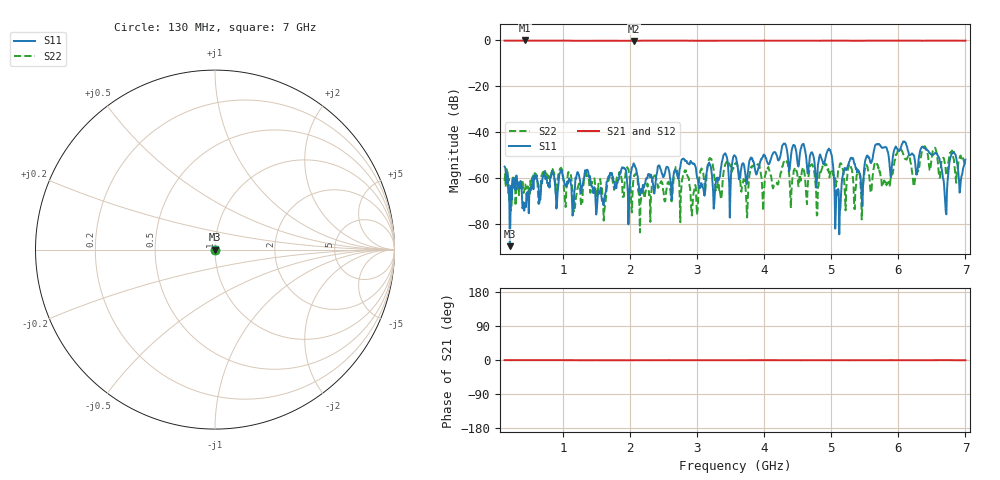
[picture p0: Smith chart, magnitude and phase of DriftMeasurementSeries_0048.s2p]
# Hz S RI R 50.000000
! Metas.Vna.Tools, 2.8.8664.20301
! Metas.Vna.Data, 2.8.8664.20285
! Created: UTC 2024.02.11 10:08:23
! FREQ  re:S1,1  im:S1,1  re:S2,1  im:S2,1  re:S1,2  im:S1,2  re:S2,2  im:S2,2
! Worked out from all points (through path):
!   801 points, 130 MHz to 7 GHz, reference 50 ohm
!   highest |S21| = 0.01 dB at 439.1 MHz (marker M1); lowest = -0.2 dB at 2.054 GHz (marker M2)
!   lowest |S11| = -89.5 dB at 207.3 MHz (marker M3), VSWR 1.00, Z = 50 + j0.00315 ohm
!   |S11| at or under -10 dB: start of sweep to end of sweep
!   |S22| runs from -83.5 to -46.1 dB; largest |S21 - S12| = 0.021
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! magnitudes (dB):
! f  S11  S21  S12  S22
! 130 MHz  -54.9  -0.1  0.0  -61.0
! 207.3 MHz  -89.5  0.0  0.0  -70.8
! 439.1 MHz  -71.0  0.0  0.0  -62.7
! 1.281 GHz  -63.9  -0.1  0.0  -69.8
! 2.054 GHz  -53.5  -0.2  0.0  -60.3
! 2.423 GHz  -54.5  -0.1  0.0  -64.0
! 3.264 GHz  -66.8  -0.1  0.0  -60.5
! 3.565 GHz  -50.2  -0.1  0.0  -53.6
! 3.737 GHz  -62.6  -0.1  0.0  -72.0
! 3.84 GHz  -52.6  -0.1  0.0  -54.3
! 4.716 GHz  -48.8  -0.1  0.0  -53.9
! 4.982 GHz  -47.6  -0.1  0.0  -57.9
! 5.094 GHz  -67.3  -0.1  0.0  -59.9
! 5.291 GHz  -51.1  -0.1  0.0  -54.5
! 5.446 GHz  -63.1  -0.1  0.0  -66.6
! 5.858 GHz  -50.7  -0.1  0.0  -61.5
! 6.021 GHz  -47.8  -0.1  0.0  -47.4
! 6.236 GHz  -50.3  -0.1  0.0  -63.6
! 6.562 GHz  -49.1  -0.1  0.0  -47.9
! 6.699 GHz  -70.1  -0.1  0.0  -54.0
! 6.802 GHz  -49.2  -0.1  0.0  -47.9
! 7 GHz  -51.9  -0.1  0.0  -54.3
